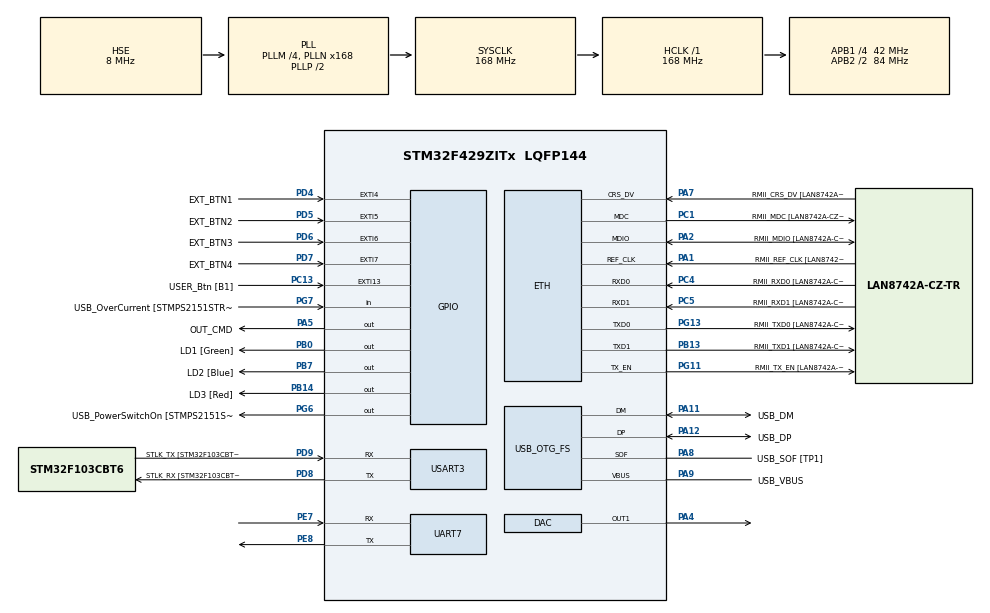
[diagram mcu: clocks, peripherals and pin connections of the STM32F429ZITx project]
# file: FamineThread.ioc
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Mcu.Family=STM32F4
RCC.CortexFreq_Value=168000000
PG6.Signal=GPIO_Output
PB14.GPIO_Label=LD3 [Red]
PG6.GPIO_Label=USB_PowerSwitchOn [STMPS2151STR_EN]
PA14.GPIO_Label=TCK
RCC.SYSCLKSourceVirtual=RCC_SYSCLKSOURCE_PLLCLK
PA11.Mode=Device_Only
PB0.GPIO_Label=LD1 [Green]
PC14/OSC32_IN.Mode=LSE-External-Oscillator
PC5.Mode=RMII
PC13.GPIO_Label=USER_Btn [B1]
PB13.GPIO_Label=RMII_TXD1 [LAN8742A-CZ-TR_TXD1]
PB13.Signal=ETH_TXD1
PD6.GPIO_Label=EXT_BTN3
PG13.Signal=ETH_TXD0
PD9.Mode=Asynchronous
PG11.Signal=ETH_TX_EN
RCC.SYSCLKSource=RCC_SYSCLKSOURCE_PLLCLK
ProjectManager.StackSize=0x400
VP_FREERTOS_VS_CMSIS_V2.Mode=CMSIS_V2
PA12.Signal=USB_OTG_FS_DP
ETH.PHY_Value=0
PH0/OSC_IN.Mode=HSE-External-Clock-Source
RCC.HCLKFreq_Value=168000000
PD4.Signal=GPXTI4
RCC.APB2TimFreq_Value=168000000
PH1/OSC_OUT.Signal=RCC_OSC_OUT
PD8.Signal=USART3_TX
RCC.AHBFreq_Value=168000000
RCC.HSE_VALUE=8000000
RCC.PLLMUL=RCC_PLL_MUL9
PC4.GPIO_Label=RMII_RXD0 [LAN8742A-CZ-TR_RXD0]
PA14.Mode=Serial_Wire
PA10.GPIO_Label=USB_ID
PB7.Signal=GPIO_Output
PA8.Signal=USB_OTG_FS_SOF
PG13.Mode=RMII
ETH.PHY_Name=LAN8742A_PHY_ADDRESS
PH1/OSC_OUT.Mode=HSE-External-Clock-Source
PD7.GPIO_Label=EXT_BTN4
PB7.GPIO_Label=LD2 [Blue]
Mcu.Package=LQFP144
PC14/OSC32_IN.Signal=RCC_OSC32_IN
PD5.GPIO_Label=EXT_BTN2
PA2.GPIO_Label=RMII_MDIO [LAN8742A-CZ-TR_MDIO]
PA10.Signal=USB_OTG_FS_ID
USB_OTG_FS.VirtualMode=Device_Only
RCC.APB2CLKDivider=RCC_HCLK_DIV2
RCC.APB1TimFreq_Value=84000000
PG11.GPIO_Label=RMII_TX_EN [LAN8742A-CZ-TR_TXEN]
PC5.Signal=ETH_RXD1
PB13.Mode=RMII
PE7.Signal=UART7_RX
PD6.Signal=GPXTI6
PC4.Mode=RMII
SH.COMP_DAC1_group.0=DAC_OUT1,DAC_OUT1
NVIC.EXTI4_IRQn=true\:5\:0\:false\:false\:true\:true\:true\:true
FREERTOS.Tasks01=GreenLED,24,128,GreenLEDTask,Default,NULL,Dynamic,NULL,NULL;BlueLED,24,128,BlueLEDTask,Default,NULL,Dynamic,NULL,NULL;RedLED,24,128,RedLEDTask,Default,NULL,Dynamic,NULL,NULL;Future,40,128,FutureTask,Default,NULL,Dynamic,NULL,NULL
PA7.Mode=RMII
PG7.Signal=GPIO_Input
PD9.GPIO_Label=STLK_TX [STM32F103CBT6_PA2]
PC13.Signal=GPXTI13
PA9.GPIO_Label=USB_VBUS
PC4.Signal=ETH_RXD0
PD7.Signal=GPXTI7
PA11.GPIO_Label=USB_DM
PD9.Signal=USART3_RX
PD5.Signal=GPXTI5
UART7.VirtualMode=Asynchronous
RCC.APB1CLKDivider=RCC_HCLK_DIV4
PG13.GPIO_Label=RMII_TXD0 [LAN8742A-CZ-TR_TXD0]
ETH.PhyAddress=0
PA12.GPIO_Label=USB_DP
PD8.GPIO_Label=STLK_RX [STM32F103CBT6_PA3]
PE8.Mode=Asynchronous
PA13.Signal=SYS_JTMS-SWDIO
PA9.Mode=Activate_VBUS
PA8.GPIO_Label=USB_SOF [TP1]
ProjectManager.TargetToolchain=TrueSTUDIO
PA9.Signal=USB_OTG_FS_VBUS
RCC.USBFreq_Value=48000000
PD8.Mode=Asynchronous
PA1.Signal=ETH_REF_CLK
PB14.Signal=GPIO_Output
PA5.Signal=GPIO_Output
board=NUCLEO-F429ZI
RCC.VCOOutputFreq_Value=336000000
PH0/OSC_IN.Signal=RCC_OSC_IN
RCC.APB2Freq_Value=84000000
PA1.Mode=RMII
RCC.PRESCALERUSB=RCC_USBCLKSOURCE_PLL_DIV1_5
PE8.Signal=UART7_TX
PD4.GPIO_Label=EXT_BTN1
PG7.GPIO_Label=USB_OverCurrent [STMPS2151STR_FAULT]
PA1.GPIO_Label=RMII_REF_CLK [LAN8742A-CZ-TR_REFCLK0]
PC1.GPIO_Label=RMII_MDC [LAN8742A-CZ-TR_MDC]
PA13.Mode=Serial_Wire
Mcu.Name=STM32F429ZITx
PA2.Signal=ETH_MDIO
PA13.GPIO_Label=TMS
RCC.APB2TimCLKDivider=2
RCC.48MHZClocksFreq_Value=48000000
PA4.Signal=COMP_DAC1_group
RCC.SYSCLKFreq_VALUE=168000000
PE7.Mode=Asynchronous
ETH.MediaInterface=ETH_MEDIA_INTERFACE_RMII
PA7.GPIO_Label=RMII_CRS_DV [LAN8742A-CZ-TR_CRS_DV]
PA12.Mode=Device_Only
PA5.GPIO_Label=OUT_CMD
PC5.GPIO_Label=RMII_RXD1 [LAN8742A-CZ-TR_RXD1]
USART3.VirtualMode=VM_ASYNC
PC15/OSC32_OUT.Mode=LSE-External-Oscillator
PG11.Mode=RMII
PA11.Signal=USB_OTG_FS_DM
NVIC.EXTI9_5_IRQn=true\:5\:0\:false\:false\:true\:true\:true\:true
PA14.Signal=SYS_JTCK-SWCLK
ProjectManager.HeapSize=0x200
RCC.HSI_VALUE=16000000
PH0/OSC_IN.GPIO_Label=MCO [STM32F103CBT6_PA8]
RCC.PLLQ=7
NVIC.PriorityGroup=NVIC_PRIORITYGROUP_4
RCC.PLLM=4
RCC.PLLN=168
PA2.Mode=RMII
PC15/OSC32_OUT.Signal=RCC_OSC32_OUT
PA8.Mode=Activate_SOF_FS
RCC.APB1Freq_Value=42000000
PB0.Signal=GPIO_Output
PC1.Signal=ETH_MDC
PC1.Mode=RMII
PA7.Signal=ETH_CRS_DV

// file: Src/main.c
/* USER CODE BEGIN Header */
/**
 ******************************************************************************
 * @file           : main.c
 * @brief          : Main program body
 ******************************************************************************
 * @attention
 *
 * <h2><center>&copy; Copyright (c) 2020 STMicroelectronics.
 * All rights reserved.</center></h2>
 *
 * This software component is licensed by ST under Ultimate Liberty license
 * SLA0044, the "License"; You may not use this file except in compliance with
 * the License. You may obtain a copy of the License at:
 *                             www.st.com/SLA0044
 *
 ******************************************************************************
 */
/* USER CODE END Header */

#include "main.h"
#include "cmsis_os.h"

DAC_HandleTypeDef hdac;

ETH_HandleTypeDef heth;

UART_HandleTypeDef huart7;
UART_HandleTypeDef huart3;

PCD_HandleTypeDef hpcd_USB_OTG_FS;

/* Definitions for GreenLED */
osThreadId_t GreenLEDHandle;
const osThreadAttr_t GreenLED_attributes = {
  .name = "GreenLED",
  .priority = (osPriority_t) osPriorityNormal,
  .stack_size = 128 * 4
};
/* Definitions for BlueLED */
osThreadId_t BlueLEDHandle;
const osThreadAttr_t BlueLED_attributes = {
  .name = "BlueLED",
  .priority = (osPriority_t) osPriorityNormal,
  .stack_size = 128 * 4
};
/* Definitions for RedLED */
osThreadId_t RedLEDHandle;
const osThreadAttr_t RedLED_attributes = {
  .name = "RedLED",
  .priority = (osPriority_t) osPriorityNormal,
  .stack_size = 128 * 4
};
/* Definitions for Future */
osThreadId_t FutureHandle;
const osThreadAttr_t Future_attributes = {
  .name = "Future",
  .priority = (osPriority_t) osPriorityHigh,
  .stack_size = 128 * 4
};

void SystemClock_Config(void);
static void MX_GPIO_Init(void);
static void MX_ETH_Init(void);
static void MX_USART3_UART_Init(void);
static void MX_USB_OTG_FS_PCD_Init(void);
static void MX_DAC_Init(void);
static void MX_UART7_Init(void);
void GreenLEDTask(void *argument);
void BlueLEDTask(void *argument);
void RedLEDTask(void *argument);
void FutureTask(void *argument);

int main(void)
{

  /* MCU Configuration--------------------------------------------------------*/

  /* Reset of all peripherals, Initializes the Flash interface and the Systick. */
  HAL_Init();

  /* Configure the system clock */
  SystemClock_Config();

  /* Initialize all configured peripherals */
  MX_GPIO_Init();
  MX_ETH_Init();
  MX_USART3_UART_Init();
  MX_USB_OTG_FS_PCD_Init();
  MX_DAC_Init();
  MX_UART7_Init();

  /* Init scheduler */
  osKernelInitialize();

  /* Create the thread(s) */
  /* creation of GreenLED */
  GreenLEDHandle = osThreadNew(GreenLEDTask, NULL, &GreenLED_attributes);

  /* creation of BlueLED */
  BlueLEDHandle = osThreadNew(BlueLEDTask, NULL, &BlueLED_attributes);

  /* creation of RedLED */
  RedLEDHandle = osThreadNew(RedLEDTask, NULL, &RedLED_attributes);

  /* creation of Future */
  FutureHandle = osThreadNew(FutureTask, NULL, &Future_attributes);

  /* Start scheduler */
  osKernelStart();

  /* We should never get here as control is now taken by the scheduler */
  /* Infinite loop */
	while (1)
	{

	}
}

void SystemClock_Config(void)
{
  RCC_OscInitTypeDef RCC_OscInitStruct = {0};
  RCC_ClkInitTypeDef RCC_ClkInitStruct = {0};

  /** Configure the main internal regulator output voltage
  */
  __HAL_RCC_PWR_CLK_ENABLE();
  __HAL_PWR_VOLTAGESCALING_CONFIG(PWR_REGULATOR_VOLTAGE_SCALE1);
  /** Initializes the CPU, AHB and APB busses clocks
  */
  RCC_OscInitStruct.OscillatorType = RCC_OSCILLATORTYPE_HSE;
  RCC_OscInitStruct.HSEState = RCC_HSE_BYPASS;
  RCC_OscInitStruct.PLL.PLLState = RCC_PLL_ON;
  RCC_OscInitStruct.PLL.PLLSource = RCC_PLLSOURCE_HSE;
  RCC_OscInitStruct.PLL.PLLM = 4;
  RCC_OscInitStruct.PLL.PLLN = 168;
  RCC_OscInitStruct.PLL.PLLP = RCC_PLLP_DIV2;
  RCC_OscInitStruct.PLL.PLLQ = 7;
  if (HAL_RCC_OscConfig(&RCC_OscInitStruct) != HAL_OK)
  {
    Error_Handler();
  }
  /** Initializes the CPU, AHB and APB busses clocks
  */
  RCC_ClkInitStruct.ClockType = RCC_CLOCKTYPE_HCLK|RCC_CLOCKTYPE_SYSCLK
                              |RCC_CLOCKTYPE_PCLK1|RCC_CLOCKTYPE_PCLK2;
  RCC_ClkInitStruct.SYSCLKSource = RCC_SYSCLKSOURCE_PLLCLK;
  RCC_ClkInitStruct.AHBCLKDivider = RCC_SYSCLK_DIV1;
  RCC_ClkInitStruct.APB1CLKDivider = RCC_HCLK_DIV4;
  RCC_ClkInitStruct.APB2CLKDivider = RCC_HCLK_DIV2;

  if (HAL_RCC_ClockConfig(&RCC_ClkInitStruct, FLASH_LATENCY_5) != HAL_OK)
  {
    Error_Handler();
  }
}

static void MX_DAC_Init(void)
{

  DAC_ChannelConfTypeDef sConfig = {0};

  /** DAC Initialization
  */
  hdac.Instance = DAC;
  if (HAL_DAC_Init(&hdac) != HAL_OK)
  {
    Error_Handler();
  }
  /** DAC channel OUT1 config
  */
  sConfig.DAC_Trigger = DAC_TRIGGER_NONE;
  sConfig.DAC_OutputBuffer = DAC_OUTPUTBUFFER_ENABLE;
  if (HAL_DAC_ConfigChannel(&hdac, &sConfig, DAC_CHANNEL_1) != HAL_OK)
  {
    Error_Handler();
  }

}

static void MX_ETH_Init(void)
{

  heth.Instance = ETH;
  heth.Init.AutoNegotiation = ETH_AUTONEGOTIATION_ENABLE;
  heth.Init.PhyAddress = LAN8742A_PHY_ADDRESS;
  heth.Init.MACAddr[0] =   0x00;
  heth.Init.MACAddr[1] =   0x80;
  heth.Init.MACAddr[2] =   0xE1;
  heth.Init.MACAddr[3] =   0x00;
  heth.Init.MACAddr[4] =   0x00;
  heth.Init.MACAddr[5] =   0x00;
  heth.Init.RxMode = ETH_RXPOLLING_MODE;
  heth.Init.ChecksumMode = ETH_CHECKSUM_BY_HARDWARE;
  heth.Init.MediaInterface = ETH_MEDIA_INTERFACE_RMII;

  if (HAL_ETH_Init(&heth) != HAL_OK)
  {
    Error_Handler();
  }

}

static void MX_UART7_Init(void)
{

  huart7.Instance = UART7;
  huart7.Init.BaudRate = 115200;
  huart7.Init.WordLength = UART_WORDLENGTH_8B;
  huart7.Init.StopBits = UART_STOPBITS_1;
  huart7.Init.Parity = UART_PARITY_NONE;
  huart7.Init.Mode = UART_MODE_TX_RX;
  huart7.Init.HwFlowCtl = UART_HWCONTROL_NONE;
  huart7.Init.OverSampling = UART_OVERSAMPLING_16;
  if (HAL_UART_Init(&huart7) != HAL_OK)
  {
    Error_Handler();
  }

}

static void MX_USART3_UART_Init(void)
{

  huart3.Instance = USART3;
  huart3.Init.BaudRate = 115200;
  huart3.Init.WordLength = UART_WORDLENGTH_8B;
  huart3.Init.StopBits = UART_STOPBITS_1;
  huart3.Init.Parity = UART_PARITY_NONE;
  huart3.Init.Mode = UART_MODE_TX_RX;
  huart3.Init.HwFlowCtl = UART_HWCONTROL_NONE;
  huart3.Init.OverSampling = UART_OVERSAMPLING_16;
  if (HAL_UART_Init(&huart3) != HAL_OK)
  {
    Error_Handler();
  }

}

static void MX_USB_OTG_FS_PCD_Init(void)
{

  hpcd_USB_OTG_FS.Instance = USB_OTG_FS;
  hpcd_USB_OTG_FS.Init.dev_endpoints = 4;
  hpcd_USB_OTG_FS.Init.speed = PCD_SPEED_FULL;
  hpcd_USB_OTG_FS.Init.dma_enable = DISABLE;
  hpcd_USB_OTG_FS.Init.phy_itface = PCD_PHY_EMBEDDED;
  hpcd_USB_OTG_FS.Init.Sof_enable = ENABLE;
  hpcd_USB_OTG_FS.Init.low_power_enable = DISABLE;
  hpcd_USB_OTG_FS.Init.lpm_enable = DISABLE;
  hpcd_USB_OTG_FS.Init.vbus_sensing_enable = ENABLE;
  hpcd_USB_OTG_FS.Init.use_dedicated_ep1 = DISABLE;
  if (HAL_PCD_Init(&hpcd_USB_OTG_FS) != HAL_OK)
  {
    Error_Handler();
  }

}

static void MX_GPIO_Init(void)
{
  GPIO_InitTypeDef GPIO_InitStruct = {0};

  /* GPIO Ports Clock Enable */
  __HAL_RCC_GPIOC_CLK_ENABLE();
  __HAL_RCC_GPIOH_CLK_ENABLE();
  __HAL_RCC_GPIOA_CLK_ENABLE();
  __HAL_RCC_GPIOB_CLK_ENABLE();
  __HAL_RCC_GPIOE_CLK_ENABLE();
  __HAL_RCC_GPIOD_CLK_ENABLE();
  __HAL_RCC_GPIOG_CLK_ENABLE();

  /*Configure GPIO pin Output Level */
  HAL_GPIO_WritePin(OUT_CMD_GPIO_Port, OUT_CMD_Pin, GPIO_PIN_RESET);

  /*Configure GPIO pin Output Level */
  HAL_GPIO_WritePin(GPIOB, LD1_Pin|LD3_Pin|LD2_Pin, GPIO_PIN_RESET);

  /*Configure GPIO pin Output Level */
  HAL_GPIO_WritePin(USB_PowerSwitchOn_GPIO_Port, USB_PowerSwitchOn_Pin, GPIO_PIN_RESET);

  /*Configure GPIO pin : USER_Btn_Pin */
  GPIO_InitStruct.Pin = USER_Btn_Pin;
  GPIO_InitStruct.Mode = GPIO_MODE_IT_RISING;
  GPIO_InitStruct.Pull = GPIO_NOPULL;
  HAL_GPIO_Init(USER_Btn_GPIO_Port, &GPIO_InitStruct);

  /*Configure GPIO pin : OUT_CMD_Pin */
  GPIO_InitStruct.Pin = OUT_CMD_Pin;
  GPIO_InitStruct.Mode = GPIO_MODE_OUTPUT_PP;
  GPIO_InitStruct.Pull = GPIO_NOPULL;
  GPIO_InitStruct.Speed = GPIO_SPEED_FREQ_LOW;
  HAL_GPIO_Init(OUT_CMD_GPIO_Port, &GPIO_InitStruct);

  /*Configure GPIO pins : LD1_Pin LD3_Pin LD2_Pin */
  GPIO_InitStruct.Pin = LD1_Pin|LD3_Pin|LD2_Pin;
  GPIO_InitStruct.Mode = GPIO_MODE_OUTPUT_PP;
  GPIO_InitStruct.Pull = GPIO_NOPULL;
  GPIO_InitStruct.Speed = GPIO_SPEED_FREQ_LOW;
  HAL_GPIO_Init(GPIOB, &GPIO_InitStruct);

  /*Configure GPIO pin : USB_PowerSwitchOn_Pin */
  GPIO_InitStruct.Pin = USB_PowerSwitchOn_Pin;
  GPIO_InitStruct.Mode = GPIO_MODE_OUTPUT_PP;
  GPIO_InitStruct.Pull = GPIO_NOPULL;
  GPIO_InitStruct.Speed = GPIO_SPEED_FREQ_LOW;
  HAL_GPIO_Init(USB_PowerSwitchOn_GPIO_Port, &GPIO_InitStruct);

  /*Configure GPIO pin : USB_OverCurrent_Pin */
  GPIO_InitStruct.Pin = USB_OverCurrent_Pin;
  GPIO_InitStruct.Mode = GPIO_MODE_INPUT;
  GPIO_InitStruct.Pull = GPIO_NOPULL;
  HAL_GPIO_Init(USB_OverCurrent_GPIO_Port, &GPIO_InitStruct);

  /*Configure GPIO pins : EXT_BTN1_Pin EXT_BTN2_Pin EXT_BTN3_Pin EXT_BTN4_Pin */
  GPIO_InitStruct.Pin = EXT_BTN1_Pin|EXT_BTN2_Pin|EXT_BTN3_Pin|EXT_BTN4_Pin;
  GPIO_InitStruct.Mode = GPIO_MODE_IT_RISING;
  GPIO_InitStruct.Pull = GPIO_NOPULL;
  HAL_GPIO_Init(GPIOD, &GPIO_InitStruct);

  /* EXTI interrupt init*/
  HAL_NVIC_SetPriority(EXTI4_IRQn, 5, 0);
  HAL_NVIC_EnableIRQ(EXTI4_IRQn);

  HAL_NVIC_SetPriority(EXTI9_5_IRQn, 5, 0);
  HAL_NVIC_EnableIRQ(EXTI9_5_IRQn);

}

/* USER CODE BEGIN 4 */
void send_Frame(int value_to_send){
	int LowTime = LOW_TIME;
	int HighTime = HIGH_TIME;
	if(value_to_send == 0){
		//		HAL_GPIO_WritePin(OUT_CMD_GPIO_Port,OUT_CMD_Pin,0);
		for(int i =0 ; i <8 ;i++){
			HAL_GPIO_WritePin(OUT_CMD_GPIO_Port,OUT_CMD_Pin,T1);
			while(LowTime){
				LowTime--;
			}
			HAL_GPIO_WritePin(OUT_CMD_GPIO_Port,OUT_CMD_Pin,T0);
			while(HighTime){
				HighTime --;
			}
			HighTime =HIGH_TIME;
			LowTime =LOW_TIME;
		}

	}
	if(value_to_send == 1){
		//		HAL_GPIO_WritePin(OUT_CMD_GPIO_Port,OUT_CMD_Pin,0);
		for(int i =0 ; i < 8;i++){
			HAL_GPIO_WritePin(OUT_CMD_GPIO_Port,OUT_CMD_Pin,T1);
			while(HighTime){
				HighTime--;
			}
			HAL_GPIO_WritePin(OUT_CMD_GPIO_Port,OUT_CMD_Pin,T0);
			while(LowTime){
				LowTime --;
			}
			HighTime =HIGH_TIME;
			LowTime =LOW_TIME;
		}
		//		HAL_GPIO_WritePin(OUT_CMD_GPIO_Port,OUT_CMD_Pin,1);
	}
	//	HAL_GPIO_WritePin(OUT_CMD_GPIO_Port,OUT_CMD_Pin,T1);
	//	HAL_GPIO_WritePin(OUT_CMD_GPIO_Port,OUT_CMD_Pin,T0);

}

/* USER CODE END 4 */

void GreenLEDTask(void *argument)
{
  /* USER CODE BEGIN 5 */
	/* Infinite loop */
	for(;;)
	{
		//		send_One();

		send_Frame(0);
		send_Frame(1);
		send_Frame(0);
		//		HAL_GPIO_WritePin(OUT_CMD_GPIO_Port,OUT_CMD_Pin,T1);
		//		HAL_GPIO_WritePin(OUT_CMD_GPIO_Port,OUT_CMD_Pin,T0);
		//		osDelay(250);
		send_Frame(0);
		send_Frame(1);
		send_Frame(0);

		send_Frame(0);
		send_Frame(1);
		send_Frame(0);
		HAL_GPIO_WritePin(OUT_CMD_GPIO_Port,OUT_CMD_Pin,T1);
		HAL_GPIO_WritePin(OUT_CMD_GPIO_Port,OUT_CMD_Pin,T0);
		osDelay(250);
		send_Frame(0);
		send_Frame(0);
		send_Frame(0);
		//		osDelay(250);
		send_Frame(0);
		send_Frame(1);
		send_Frame(0);

		send_Frame(0);
		send_Frame(1);
		send_Frame(0);

		HAL_GPIO_WritePin(OUT_CMD_GPIO_Port,OUT_CMD_Pin,T1);
		HAL_GPIO_WritePin(OUT_CMD_GPIO_Port,OUT_CMD_Pin,T0);
		osDelay(250);

		send_Frame(0);
		send_Frame(1);
		send_Frame(0);
		//		HAL_GPIO_WritePin(OUT_CMD_GPIO_Port,OUT_CMD_Pin,T1);
		//		HAL_GPIO_WritePin(OUT_CMD_GPIO_Port,OUT_CMD_Pin,T0);
		//		osDelay(250);
		send_Frame(0);
		send_Frame(0);
		send_Frame(0);

		send_Frame(0);
		send_Frame(1);
		send_Frame(0);
		HAL_GPIO_WritePin(OUT_CMD_GPIO_Port,OUT_CMD_Pin,T1);
		HAL_GPIO_WritePin(OUT_CMD_GPIO_Port,OUT_CMD_Pin,T0);
		osDelay(250);

		send_Frame(0);
		send_Frame(1);
		send_Frame(0);
		//		HAL_GPIO_WritePin(OUT_CMD_GPIO_Port,OUT_CMD_Pin,T1);
		//		HAL_GPIO_WritePin(OUT_CMD_GPIO_Port,OUT_CMD_Pin,T0);
		//		osDelay(250);
		send_Frame(0);
		send_Frame(1);
		send_Frame(0);

		send_Frame(0);
		send_Frame(0);
		send_Frame(0);
		HAL_GPIO_WritePin(OUT_CMD_GPIO_Port,OUT_CMD_Pin,T1);
		HAL_GPIO_WritePin(OUT_CMD_GPIO_Port,OUT_CMD_Pin,T0);
		osDelay(250);

		send_Frame(0);
		send_Frame(1);
		send_Frame(0);
		//		HAL_GPIO_WritePin(OUT_CMD_GPIO_Port,OUT_CMD_Pin,T1);
		//		HAL_GPIO_WritePin(OUT_CMD_GPIO_Port,OUT_CMD_Pin,T0);
		//		osDelay(250);
		send_Frame(0);
		send_Frame(0);
		send_Frame(0);

		send_Frame(0);
		send_Frame(1);
		send_Frame(0);
		HAL_GPIO_WritePin(OUT_CMD_GPIO_Port,OUT_CMD_Pin,T1);
		HAL_GPIO_WritePin(OUT_CMD_GPIO_Port,OUT_CMD_Pin,T0);

		osDelay(250);
		//		osDelay(50);
		//		send_Frame(0);
		//		osDelay(50);

		//		if(HAL_GPIO_ReadPin(USER_Btn_GPIO_Port,USER_Btn_Pin)){
		//			HAL_GPIO_TogglePin(LD1_GPIO_Port, LD1_Pin);
		//			osDelay(4000);

	}
	//		osDelay(1);
	//}
  /* USER CODE END 5 */
}

void BlueLEDTask(void *argument)
{
  /* USER CODE BEGIN BlueLEDTask */
	/* Infinite loop */
		 char* message = "GnuDeLamotte\n\r";
	for(;;)
	{
		//		if(state_BTN_BLINK == 1){
		HAL_GPIO_TogglePin(LD1_GPIO_Port, LD1_Pin);
		HAL_UART_Transmit(&huart7,(uint8_t*)message,15,100);
		//		HAL_GPIO_TogglePin(LD2_GPIO_Port, LD2_Pin);
		//		HAL_GPIO_TogglePin(LD3_GPIO_Port, LD3_Pin);
		//		}
		////		HAL_GPIO_TogglePin(LD2_GPIO_Port, LD2_Pin);
		//		HAL_Delay(250);

		osDelay(1);
	}

  /* USER CODE END BlueLEDTask */
}

void RedLEDTask(void *argument)
{
  /* USER CODE BEGIN RedLEDTask */
	/* Infinite loop */
	for(;;)
	{
		//		HAL_GPIO_TogglePin(LD3_GPIO_Port, LD3_Pin);
		//		HAL_Delay(166);

		osDelay(1);
	}
  /* USER CODE END RedLEDTask */
}

void FutureTask(void *argument)
{
  /* USER CODE BEGIN FutureTask */
	/* Infinite loop */
	for(;;)
	{
		osDelay(1);
		//		HAL_Delay(1);
	}
  /* USER CODE END FutureTask */
}

void Error_Handler(void)
{
}

/************************ (C) COPYRIGHT STMicroelectronics *****END OF FILE****/
